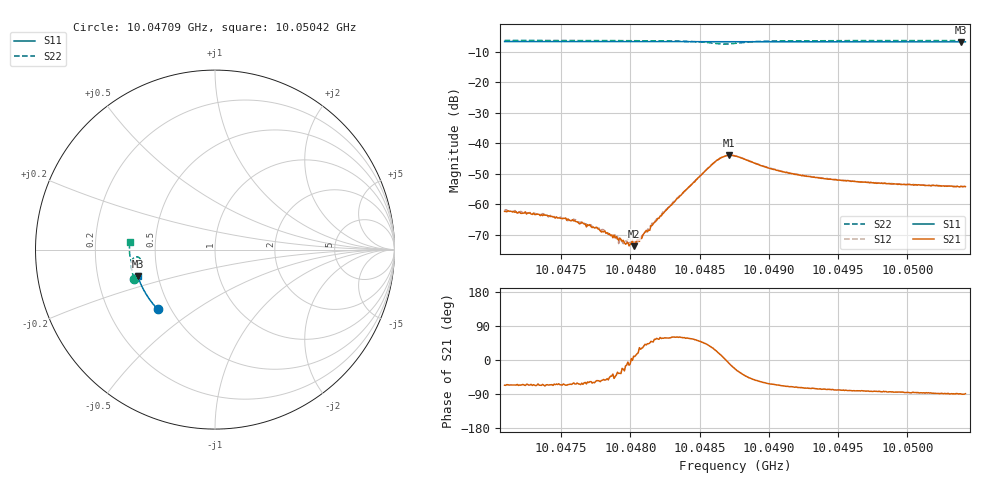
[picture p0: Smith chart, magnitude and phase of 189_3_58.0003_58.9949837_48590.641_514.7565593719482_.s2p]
#  HZ  S  RI  R  50.00
! Rohde & Schwarz Vector Network Analyzer
! Rohde-Schwarz,ZNB20-2Port,1311601062101988,3.16
! Created: UTC 3/21/2024, 12:58:46 AM
! freq[Hz]  re:S11  im:S11  re:S21  im:S21  re:S12  im:S12  re:S22  im:S22
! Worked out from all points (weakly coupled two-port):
!   401 points, 10.04709 GHz to 10.05042 GHz, reference 50 ohm
!   highest |S21| = -43.98 dB at 10.04871 GHz (marker M1); lowest = -73.6 dB at 10.04802 GHz (marker M2)
!   lowest |S11| = -6.8 dB at 10.05039 GHz (marker M3), VSWR 2.67, Z = 19.2 - j7.25 ohm
!   |S11| at or under -10 dB: nowhere
!   |S22| runs from -7.6 to -6.4 dB; largest |S21 - S12| = 0.00045
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1.0047092e10  -0.3173 -0.3336  0.000307 -0.000708  0.000376 -0.000705  -0.4513 -0.1615
1.0047392e10  -0.331 -0.3193  0.000278 -0.000612  0.000302 -0.000608  -0.4572 -0.1417
1.0047558e10  -0.3384 -0.3108  0.000237 -0.000499  0.000298 -0.000477  -0.46 -0.1301
1.00476e10  -0.3401 -0.3089  0.000243 -0.00048  0.000269 -0.000476  -0.4608 -0.1272
1.004765e10  -0.3422 -0.3063  0.000248 -0.00045  0.000258 -0.000412  -0.4614 -0.1236
1.0047758e10  -0.3469 -0.3009  0.000245 -0.000343  0.000243 -0.000338  -0.4631 -0.1156
1.0047891e10  -0.3523 -0.2939  0.000205 -0.000195  0.000247 -0.000198  -0.4648 -0.1058
1.0047932e10  -0.354 -0.2916  0.000217 -0.000156  0.000233 -0.000146  -0.4651 -0.1025
1.0047974e10  -0.3558 -0.2895  0.000227 -5.38e-05  0.000234 -6.26e-05  -0.4655 -0.0992
1.0048024e10  -0.3577 -0.2868  0.000205 3.62e-05  0.000221 3.83e-05  -0.466 -0.095
1.0048032e10  -0.358 -0.2863  0.000214 3.44e-05  0.000239 5.21e-05  -0.4658 -0.0945
1.0048074e10  -0.3597 -0.2842  0.000245 0.000133  0.000238 0.000172  -0.4661 -0.0909
1.0048207e10  -0.3649 -0.2771  0.000344 0.000483  0.000329 0.000515  -0.4661 -0.0789
1.0048606e10  -0.3792 -0.2552  0.00427 0.00228  0.00414 0.00254  -0.4288 -0.0416
1.0048664e10  -0.381 -0.2518  0.00583 0.000955  0.00581 0.00127  -0.416 -0.0532
1.0048714e10  -0.3826 -0.2493  0.00624 -0.00102  0.00635 -0.000647  -0.4153 -0.0695
1.0048756e10  -0.3841 -0.247  0.00568 -0.00244  0.00589 -0.00213  -0.4231 -0.0798
1.0049014e10  -0.3931 -0.2325  0.00172 -0.00344  0.00197 -0.00337  -0.4642 -0.067
1.0049313e10  -0.4025 -0.215  0.00075 -0.0027  0.000886 -0.00268  -0.4736 -0.0387
1.004987e10  -0.4176 -0.1816  0.000233 -0.00217  0.000336 -0.00218  -0.4766 0.00375
1.0050386e10  -0.4291 -0.1497  3.11e-05 -0.00198  0.000137 -0.00196  -0.475 0.0394
1.0050419e10  -0.43 -0.1476  3.83e-05 -0.00196  0.000127 -0.00195  -0.4747 0.0419
